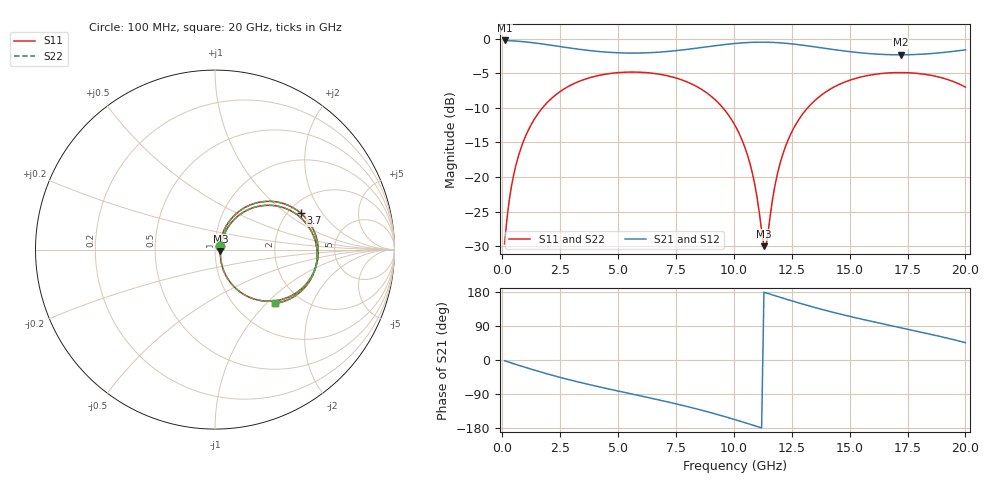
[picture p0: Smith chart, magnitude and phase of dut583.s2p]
! Touchstone file exported from HFSS 2026.1.0
!  File:  C:/ffzhzh/LocalFiles/Ansys_Project_Files/temp_train_TSV_RDL_583_1783119264_35180.aedt
!  Generated:  07:09:24 AM Jul  4, 2026
!  Design:  TSV_RDL
!  Project:  temp_train_TSV_RDL_583_1783119264_35180
! Variables:
!  h_bsmrdl = 4.26um
!  h_ox = 20um
!  h_rdl = 5um
!  h_sub = 57.01um
!  h_tmrdl = 4.01um
!  h_tsv = 57.01um
!  h_via = 3um
!  l_bsmrdl = 810.87um
!  l_sub = 5626.99um
!  l_tmrdl = 669.54um
!  m_sub = 200um
!  pitch = 50.11um
!  r_tsv = 12.85um
!  s_tmrdl = 10um
!  w_bsmrdl = 13.71um
!  w_sub = 500um
!  w_tmrdl = 25.03um
!  x_tsv_center1 = 682.055um
!  x_tsv_center2 = 1506.635um
!  x_tsv_center3 = 2201.205um
!  x_tsv_center4 = 3025.785um
!  x_tsv_center5 = 3720.355um
!  x_tsv_center6 = 4544.935um
# GHz S MA R 50.000000
! Terminal data exported
! Port[1] = TM_RDL1_1_T1
! Port[2] = TM_RDL5_1_T1
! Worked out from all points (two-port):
!   200 points, 100 MHz to 20 GHz, reference 50 ohm
!   highest |S21| = -0.22 dB at 100 MHz (marker M1); lowest = -2.3 dB at 17.2 GHz (marker M2)
!   |S21| within 3 dB of the highest: start of sweep to end of sweep
!   lowest |S11| = -30.0 dB at 11.3 GHz (marker M3), VSWR 1.07, Z = 53.1 - j1.05 ohm
!   |S11| at or under -10 dB: start of sweep to 1.733 GHz; 9.532 GHz to 13.18 GHz (3.652 GHz wide, 32.2 % of centre)
!   |S22| runs from -30.0 to -4.8 dB; largest |S21 - S12| = 1.6e-14
!   S11 on the Smith chart (normalised r, x): 100 MHz: 1.05, +0.04; 3.7 GHz: 2.33, +1.29; 20 GHz: 1.50, -1.12
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0.1  0.03275 38.9  0.9751 -2.1  0.9751 -2.1  0.03275 38.9
! Gamma 0 0 0 0
! Port Impedance 50 0 50 0
0.3  0.06779 60.9  0.9715 -6.1  0.9715 -6.1  0.06779 60.9
0.5  0.1052 64.7  0.9672 -10.0  0.9672 -10.0  0.1052 64.7
1.1  0.2143 60.8  0.9481 -21.4  0.9481 -21.4  0.2143 60.8
2.1  0.3675 46.2  0.901 -39.3  0.901 -39.3  0.3675 46.2
3.5  0.5061 25.8  0.834 -61.2  0.834 -61.2  0.5061 25.8
3.7  0.5192 23.0  0.8263 -64.1  0.8263 -64.1  0.5192 23.0
5.2  0.5731 3.4  0.7917 -84.5  0.7917 -84.5  0.5731 3.4
6.8  0.5547 -16.9  0.8029 -105.8  0.8029 -105.8  0.5547 -16.9
8.8  0.4103 -44.5  0.8754 -135.6  0.8754 -135.6  0.4103 -44.5
10.1  0.2282 -63.1  0.9289 -158.3  0.9289 -158.3  0.2282 -63.1
10.8  0.1067 -67.0  0.9451 -171.5  0.9451 -171.5  0.1066 -67.1
11.3  0.03155 -18.2  0.9475 178.9  0.9475 178.9  0.03146 -18.2
11.4  0.03224 14.4  0.9469 176.9  0.9469 176.9  0.03217 14.5
11.8  0.09088 58.1  0.9416 169.2  0.9416 169.2  0.09087 58.2
12.2  0.1609 59.4  0.9313 161.7  0.9313 161.7  0.1609 59.5
13.4  0.3456 44.5  0.8811 140.2  0.8811 140.2  0.3456 44.5
14.8  0.4879 24.7  0.8168 118.1  0.8168 118.1  0.4879 24.7
16.7  0.5677 0.3  0.7693 91.9  0.7693 91.9  0.5677 0.4
17.2  0.5708 -5.8  0.7673 85.3  0.7673 85.3  0.5708 -5.8
18.5  0.5456 -22.1  0.783 67.8  0.783 67.8  0.5456 -22.0
20  0.4482 -42.0  0.8336 45.8  0.8336 45.8  0.4482 -41.9
